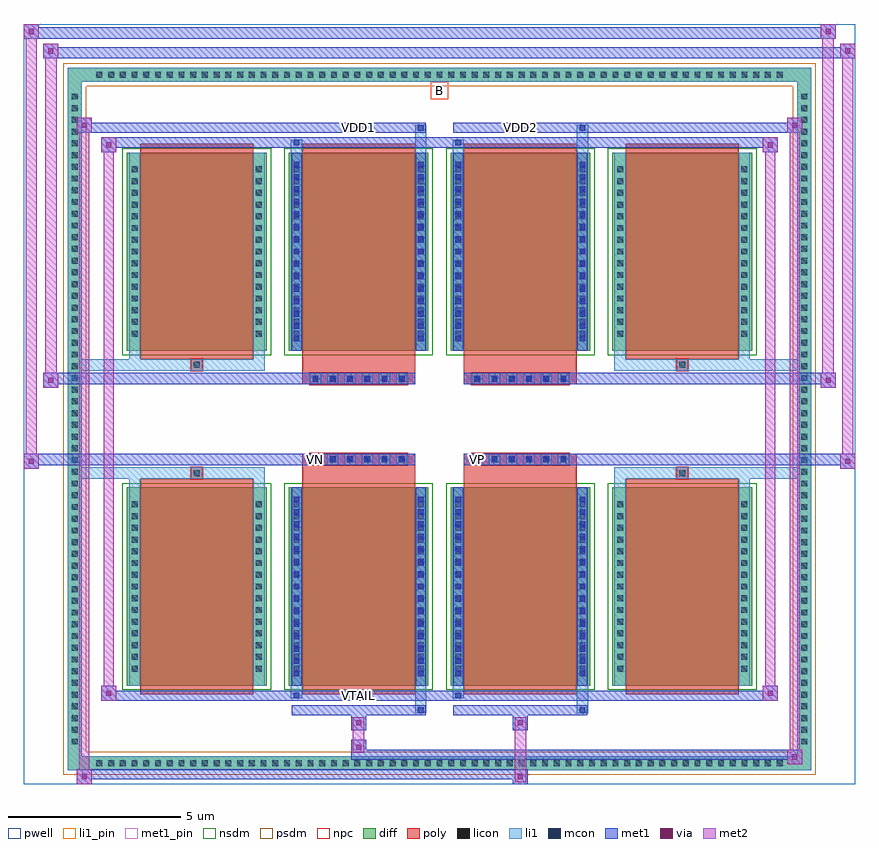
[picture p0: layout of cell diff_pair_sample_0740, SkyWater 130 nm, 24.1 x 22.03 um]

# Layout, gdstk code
import gdstk
lib = gdstk.Library(unit=1e-6, precision=5e-09)
def R(c, l, rs):  # rectangles x0, y0, x1, y1
    for r in rs: c.add(gdstk.rectangle(r[:2], r[2:], *l))
def A(c, l, x, y, w, h, nx, ny, dx, dy):  # array of equal rectangles
    R(c, l, [(x+i*dx, y+j*dy, x+i*dx+w, y+j*dy+h) for i in range(nx) for j in range(ny)])
def P(c, l, *ps):  # polygons
    for p in ps: c.add(gdstk.Polygon(p, *l))
pwell = (64, 44)
diff = (65, 20)
poly = (66, 20)
licon = (66, 44)
li1_pin = (67, 16)
li1 = (67, 20)
mcon = (67, 44)
met1_pin = (68, 16)
met1 = (68, 20)
via = (68, 44)
met2 = (69, 20)
nsdm = (93, 44)
psdm = (94, 20)
npc = (95, 20)

diff_pair_sample_0740 = lib.new_cell('diff_pair_sample_0740')
R(diff_pair_sample_0740, pwell, [(-12.05,-10.58,12.05,11.45), (-9.37,-8.77,-0.01,-0.805), (0.01,-8.77,9.37,-0.805), (-9.37,0.805,-0.01,8.77), (0.01,0.805,9.37,8.77)])
A(diff_pair_sample_0740, diff, -10.065, -10.18, 0.41, 0.41, 59, 2, 0.34, 19.95)
A(diff_pair_sample_0740, diff, -10.78, -9.555, 0.41, 0.41, 1, 56, 0, 0.34)
A(diff_pair_sample_0740, diff, 10.37, -9.555, 0.41, 0.41, 1, 56, 0, 0.34)
A(diff_pair_sample_0740, diff, -9.06, -7.725, 4.05, 5.74, 4, 2, 4.69, 9.71)
R(diff_pair_sample_0740, diff, [(-10.065,-10.18,10.065,-9.77), (-10.78,-9.555,-10.37,9.555), (10.37,-9.555,10.78,9.555), (-10.065,9.77,10.065,10.18)])
P(diff_pair_sample_0740, diff, [(10.78,10.18),(-10.78,10.18),(-10.78,-9.77),(-10.37,-9.77),(-10.37,9.77),(10.37,9.77),(10.37,-9.77),(-10.37,-9.77),(-10.78,-9.77),(-10.78,-10.18),(10.78,-10.18)])
A(diff_pair_sample_0740, poly, -8.67, -7.975, 3.27, 6.24, 4, 2, 4.69, 9.71)
A(diff_pair_sample_0740, poly, -3.76, -1.335, 0.33, 0.33, 6, 2, 0.5, 2.34)
A(diff_pair_sample_0740, poly, 0.93, -1.335, 0.33, 0.33, 6, 2, 0.5, 2.34)
R(diff_pair_sample_0740, poly, [(-7.2,-1.735,-6.87,-1.405), (-7.2,-1.735,-6.87,-1.405), (-3.98,-1.735,-0.71,-1.335), (0.71,-1.735,3.98,-1.335), (6.87,-1.735,7.2,-1.405), (6.87,-1.735,7.2,-1.405), (-3.98,-1.335,-0.71,-1.005), (0.71,-1.335,3.98,-1.005), (-3.98,1.005,-0.71,1.335), (0.71,1.005,3.98,1.335), (-3.98,1.335,-0.71,1.735), (0.71,1.335,3.98,1.735), (-7.2,1.405,-6.87,1.735), (-7.2,1.405,-6.87,1.735), (6.87,1.405,7.2,1.735), (6.87,1.405,7.2,1.735)])
A(diff_pair_sample_0740, licon, -9.945, -10.06, 0.17, 0.17, 59, 2, 0.34, 19.95)
A(diff_pair_sample_0740, licon, -10.66, -9.435, 0.17, 0.17, 1, 56, 0, 0.34)
A(diff_pair_sample_0740, licon, 10.49, -9.435, 0.17, 0.17, 1, 56, 0, 0.34)
A(diff_pair_sample_0740, licon, -8.92, -7.32, 0.17, 0.17, 1, 15, 0, 0.34)
A(diff_pair_sample_0740, licon, -5.32, -7.32, 0.17, 0.17, 1, 15, 0, 0.34)
A(diff_pair_sample_0740, licon, -4.23, -7.32, 0.17, 0.17, 1, 15, 0, 0.34)
A(diff_pair_sample_0740, licon, -0.63, -7.32, 0.17, 0.17, 1, 15, 0, 0.34)
A(diff_pair_sample_0740, licon, 0.46, -7.32, 0.17, 0.17, 1, 15, 0, 0.34)
A(diff_pair_sample_0740, licon, 4.06, -7.32, 0.17, 0.17, 1, 15, 0, 0.34)
A(diff_pair_sample_0740, licon, 5.15, -7.32, 0.17, 0.17, 1, 15, 0, 0.34)
A(diff_pair_sample_0740, licon, 8.75, -7.32, 0.17, 0.17, 1, 15, 0, 0.34)
A(diff_pair_sample_0740, licon, -3.68, -1.255, 0.17, 0.17, 6, 2, 0.5, 2.34)
A(diff_pair_sample_0740, licon, 1.01, -1.255, 0.17, 0.17, 6, 2, 0.5, 2.34)
A(diff_pair_sample_0740, licon, -8.92, 2.39, 0.17, 0.17, 1, 15, 0, 0.34)
A(diff_pair_sample_0740, licon, -5.32, 2.39, 0.17, 0.17, 1, 15, 0, 0.34)
A(diff_pair_sample_0740, licon, -4.23, 2.39, 0.17, 0.17, 1, 15, 0, 0.34)
A(diff_pair_sample_0740, licon, -0.63, 2.39, 0.17, 0.17, 1, 15, 0, 0.34)
A(diff_pair_sample_0740, licon, 0.46, 2.39, 0.17, 0.17, 1, 15, 0, 0.34)
A(diff_pair_sample_0740, licon, 4.06, 2.39, 0.17, 0.17, 1, 15, 0, 0.34)
A(diff_pair_sample_0740, licon, 5.15, 2.39, 0.17, 0.17, 1, 15, 0, 0.34)
A(diff_pair_sample_0740, licon, 8.75, 2.39, 0.17, 0.17, 1, 15, 0, 0.34)
R(diff_pair_sample_0740, licon, [(-7.12,-1.655,-6.95,-1.485), (6.95,-1.655,7.12,-1.485), (-7.12,1.485,-6.95,1.655), (6.95,1.485,7.12,1.655)])
R(diff_pair_sample_0740, li1_pin, [(-0.25,9.27,0.25,9.77)])
A(diff_pair_sample_0740, li1, -10.025, -10.14, 0.33, 0.33, 59, 2, 0.34, 19.95)
A(diff_pair_sample_0740, li1, -10.74, -9.515, 0.33, 0.33, 1, 56, 0, 0.34)
A(diff_pair_sample_0740, li1, 10.41, -9.515, 0.33, 0.33, 1, 56, 0, 0.34)
A(diff_pair_sample_0740, li1, -4.23, -7.46, 0.17, 0.17, 1, 15, 0, 0.36)
A(diff_pair_sample_0740, li1, -0.63, -7.46, 0.17, 0.17, 1, 15, 0, 0.36)
A(diff_pair_sample_0740, li1, 0.46, -7.46, 0.17, 0.17, 1, 15, 0, 0.36)
A(diff_pair_sample_0740, li1, 4.06, -7.46, 0.17, 0.17, 1, 15, 0, 0.36)
A(diff_pair_sample_0740, li1, -9, -7.4, 0.33, 0.33, 1, 15, 0, 0.34)
A(diff_pair_sample_0740, li1, -5.4, -7.4, 0.33, 0.33, 1, 15, 0, 0.34)
A(diff_pair_sample_0740, li1, -4.31, -7.4, 0.33, 0.33, 1, 15, 0, 0.34)
A(diff_pair_sample_0740, li1, -0.71, -7.4, 0.33, 0.33, 1, 15, 0, 0.34)
A(diff_pair_sample_0740, li1, 0.38, -7.4, 0.33, 0.33, 1, 15, 0, 0.34)
A(diff_pair_sample_0740, li1, 3.98, -7.4, 0.33, 0.33, 1, 15, 0, 0.34)
A(diff_pair_sample_0740, li1, 5.07, -7.4, 0.33, 0.33, 1, 15, 0, 0.34)
A(diff_pair_sample_0740, li1, 8.67, -7.4, 0.33, 0.33, 1, 15, 0, 0.34)
A(diff_pair_sample_0740, li1, -3.76, -1.335, 0.33, 0.33, 6, 2, 0.5, 2.34)
A(diff_pair_sample_0740, li1, 0.93, -1.335, 0.33, 0.33, 6, 2, 0.5, 2.34)
A(diff_pair_sample_0740, li1, -4.23, 2.25, 0.17, 0.17, 1, 15, 0, 0.36)
A(diff_pair_sample_0740, li1, -0.63, 2.25, 0.17, 0.17, 1, 15, 0, 0.36)
A(diff_pair_sample_0740, li1, 0.46, 2.25, 0.17, 0.17, 1, 15, 0, 0.36)
A(diff_pair_sample_0740, li1, 4.06, 2.25, 0.17, 0.17, 1, 15, 0, 0.36)
A(diff_pair_sample_0740, li1, -9, 2.31, 0.33, 0.33, 1, 15, 0, 0.34)
A(diff_pair_sample_0740, li1, -5.4, 2.31, 0.33, 0.33, 1, 15, 0, 0.34)
A(diff_pair_sample_0740, li1, -4.31, 2.31, 0.33, 0.33, 1, 15, 0, 0.34)
A(diff_pair_sample_0740, li1, -0.71, 2.31, 0.33, 0.33, 1, 15, 0, 0.34)
A(diff_pair_sample_0740, li1, 0.38, 2.31, 0.33, 0.33, 1, 15, 0, 0.34)
A(diff_pair_sample_0740, li1, 3.98, 2.31, 0.33, 0.33, 1, 15, 0, 0.34)
A(diff_pair_sample_0740, li1, 5.07, 2.31, 0.33, 0.33, 1, 15, 0, 0.34)
A(diff_pair_sample_0740, li1, 8.67, 2.31, 0.33, 0.33, 1, 15, 0, 0.34)
R(diff_pair_sample_0740, li1, [(-10.78,-10.18,-10.37,-9.77), (-10.78,-10.18,-10.37,-9.77), (-10.37,-10.18,10.37,-9.77), (10.37,-10.18,10.78,-9.77), (10.37,-10.18,10.78,-9.77), (-10.78,-9.77,-10.37,9.77), (10.37,-9.77,10.78,9.77), (-0.71,-8.53,-0.38,-7.725), (-0.63,-8.53,-0.46,-8.36), (3.98,-8.53,4.31,-7.725), (4.06,-8.53,4.23,-8.36), (-4.31,-8.1,-3.98,-7.725), (-4.23,-8.1,-4.06,-7.93), (0.38,-8.1,0.71,-7.725), (0.46,-8.1,0.63,-7.93), (-9,-7.725,-8.67,-1.985), (-5.4,-7.725,-5.07,-1.985), (-4.31,-7.725,-3.98,-1.985), (-0.71,-7.725,-0.38,-1.985), (0.38,-7.725,0.71,-1.985), (3.98,-7.725,4.31,-1.985), (5.07,-7.725,5.4,-1.985), (8.67,-7.725,9,-1.985), (-4.23,-7.46,-4.06,-2.25), (-0.63,-7.46,-0.46,-2.25), (0.46,-7.46,0.63,-2.25), (4.06,-7.46,4.23,-2.25), (-9,-1.985,-8.67,-1.405), (-5.4,-1.985,-5.07,-1.405), (5.07,-1.985,5.4,-1.405), (8.67,-1.985,9,-1.405), (-10.78,-1.735,-7.2,-1.405), (-9,-1.735,-7.2,-1.405), (-7.2,-1.735,-6.87,-1.405), (-6.87,-1.735,-5.07,-1.405), (5.07,-1.735,6.87,-1.405), (6.87,-1.735,7.2,-1.405), (6.87,-1.735,10.78,-1.405), (7.2,-1.735,9,-1.405), (-10.78,1.405,-7.2,1.735), (-9,1.405,-7.2,1.735), (-9,1.405,-8.67,1.985), (-7.2,1.405,-6.87,1.735), (-6.87,1.405,-5.07,1.735), (-5.4,1.405,-5.07,1.985), (5.07,1.405,6.87,1.735), (5.07,1.405,5.4,1.985), (6.87,1.405,7.2,1.735), (6.87,1.405,10.78,1.735), (7.2,1.405,9,1.735), (8.67,1.405,9,1.985), (-9,1.985,-8.67,7.725), (-5.4,1.985,-5.07,7.725), (-4.31,1.985,-3.98,7.725), (-0.71,1.985,-0.38,7.725), (0.38,1.985,0.71,7.725), (3.98,1.985,4.31,7.725), (5.07,1.985,5.4,7.725), (8.67,1.985,9,7.725), (-4.23,2.25,-4.06,7.46), (-0.63,2.25,-0.46,7.46), (0.46,2.25,0.63,7.46), (4.06,2.25,4.23,7.46), (-4.31,7.725,-3.98,8.1), (-0.71,7.725,-0.38,8.53), (0.38,7.725,0.71,8.1), (3.98,7.725,4.31,8.53), (-4.23,7.93,-4.06,8.1), (0.46,7.93,0.63,8.1), (-0.63,8.36,-0.46,8.53), (4.06,8.36,4.23,8.53), (-10.78,9.77,-10.37,10.18), (-10.78,9.77,-10.37,10.18), (-10.37,9.77,10.37,10.18), (10.37,9.77,10.78,10.18), (10.37,9.77,10.78,10.18)])
A(diff_pair_sample_0740, mcon, -4.23, -7.46, 0.17, 0.17, 1, 15, 0, 0.36)
A(diff_pair_sample_0740, mcon, -0.63, -7.46, 0.17, 0.17, 1, 15, 0, 0.36)
A(diff_pair_sample_0740, mcon, 0.46, -7.46, 0.17, 0.17, 1, 15, 0, 0.36)
A(diff_pair_sample_0740, mcon, 4.06, -7.46, 0.17, 0.17, 1, 15, 0, 0.36)
A(diff_pair_sample_0740, mcon, -3.68, -1.255, 0.17, 0.17, 6, 2, 0.5, 2.34)
A(diff_pair_sample_0740, mcon, 1.01, -1.255, 0.17, 0.17, 6, 2, 0.5, 2.34)
A(diff_pair_sample_0740, mcon, -4.23, 2.25, 0.17, 0.17, 1, 15, 0, 0.36)
A(diff_pair_sample_0740, mcon, -0.63, 2.25, 0.17, 0.17, 1, 15, 0, 0.36)
A(diff_pair_sample_0740, mcon, 0.46, 2.25, 0.17, 0.17, 1, 15, 0, 0.36)
A(diff_pair_sample_0740, mcon, 4.06, 2.25, 0.17, 0.17, 1, 15, 0, 0.36)
R(diff_pair_sample_0740, mcon, [(-0.63,-8.53,-0.46,-8.36), (4.06,-8.53,4.23,-8.36), (-4.23,-8.1,-4.06,-7.93), (0.46,-8.1,0.63,-7.93), (-4.23,7.93,-4.06,8.1), (0.46,7.93,0.63,8.1), (-0.63,8.36,-0.46,8.53), (4.06,8.36,4.23,8.53)])
R(diff_pair_sample_0740, met1_pin, [(-2.48,-8.14,-2.21,-7.87), (-3.73,-1.295,-3.46,-1.025), (0.96,-1.295,1.23,-1.025), (-2.48,8.32,-2.21,8.59), (2.21,8.32,2.48,8.59)])
A(diff_pair_sample_0740, met1, -4.29, -7.52, 0.29, 0.29, 1, 15, 0, 0.36)
A(diff_pair_sample_0740, met1, -0.69, -7.52, 0.29, 0.29, 1, 15, 0, 0.36)
A(diff_pair_sample_0740, met1, 0.4, -7.52, 0.29, 0.29, 1, 15, 0, 0.36)
A(diff_pair_sample_0740, met1, 4, -7.52, 0.29, 0.29, 1, 15, 0, 0.36)
A(diff_pair_sample_0740, met1, -3.74, -1.315, 0.29, 0.29, 6, 2, 0.5, 2.34)
A(diff_pair_sample_0740, met1, 0.95, -1.315, 0.29, 0.29, 6, 2, 0.5, 2.34)
A(diff_pair_sample_0740, met1, -4.29, 2.19, 0.29, 0.29, 1, 15, 0, 0.36)
A(diff_pair_sample_0740, met1, -0.69, 2.19, 0.29, 0.29, 1, 15, 0, 0.36)
A(diff_pair_sample_0740, met1, 0.4, 2.19, 0.29, 0.29, 1, 15, 0, 0.36)
A(diff_pair_sample_0740, met1, 4, 2.19, 0.29, 0.29, 1, 15, 0, 0.36)
R(diff_pair_sample_0740, met1, [(-10.51,-10.58,-10.08,-10.15), (2.13,-10.58,2.56,-10.15), (-10.51,-10.44,2.56,-10.15), (10.08,-10.01,10.51,-9.58), (-2.56,-9.87,10.51,-9.58), (-2.56,-9.73,-2.13,-9.3), (-2.56,-9.02,-2.13,-8.59), (2.13,-9.02,2.56,-8.59), (-4.29,-8.59,-0.4,-8.3), (-0.69,-8.59,-0.4,-8.3), (0.4,-8.59,4.29,-8.3), (4,-8.59,4.29,-8.3), (-9.8,-8.16,-9.37,-7.73), (-9.8,-8.16,-4.29,-7.87), (-4.29,-8.16,-4,-7.87), (-4.29,-8.16,-0.4,-7.87), (-0.4,-8.16,0.4,-7.87), (0.4,-8.16,0.69,-7.87), (0.4,-8.16,4.29,-7.87), (4.29,-8.16,9.8,-7.87), (9.37,-8.16,9.8,-7.73), (-4.29,-7.725,-4,-1.985), (-0.69,-7.725,-0.4,-1.985), (0.4,-7.725,0.69,-1.985), (4,-7.725,4.29,-1.985), (-12.05,-1.435,-11.62,-1.005), (11.62,-1.435,12.05,-1.005), (-12.05,-1.335,-0.71,-1.005), (-3.98,-1.335,-0.71,-1.005), (0.71,-1.335,3.98,-1.005), (0.71,-1.335,12.05,-1.005), (-11.48,0.905,-11.05,1.335), (11.05,0.905,11.48,1.335), (-11.48,1.005,-3.98,1.335), (-3.98,1.005,-0.71,1.335), (0.71,1.005,3.98,1.335), (3.98,1.005,11.48,1.335), (-4.29,1.985,-4,7.725), (-0.69,1.985,-0.4,7.725), (0.4,1.985,0.69,7.725), (4,1.985,4.29,7.725), (-9.8,7.73,-9.37,8.16), (9.37,7.73,9.8,8.16), (-9.8,7.87,-4.29,8.16), (-4.29,7.87,-4,8.16), (-4.29,7.87,-0.4,8.16), (-0.4,7.87,0.4,8.16), (0.4,7.87,0.69,8.16), (0.4,7.87,4.29,8.16), (4.29,7.87,9.8,8.16), (-10.51,8.3,-10.08,8.73), (-10.51,8.3,-4.29,8.59), (-4.29,8.3,-0.4,8.59), (-0.69,8.3,-0.4,8.59), (0.4,8.3,4.29,8.59), (4,8.3,4.29,8.59), (4.29,8.3,10.51,8.59), (10.08,8.3,10.51,8.73), (-11.48,10.45,-11.05,10.88), (-11.48,10.45,-9.37,10.78), (-9.37,10.45,9.37,10.78), (9.37,10.45,12.05,10.78), (11.62,10.45,12.05,10.88), (-12.05,11.02,-11.62,11.45), (-12.05,11.02,-9.37,11.35), (-9.37,11.02,9.37,11.35), (9.37,11.02,11.48,11.35), (11.05,11.02,11.48,11.45)])
R(diff_pair_sample_0740, via, [(-10.37,-10.44,-10.22,-10.29), (2.27,-10.44,2.42,-10.29), (10.22,-9.87,10.37,-9.72), (-2.42,-9.59,-2.27,-9.44), (-2.42,-8.88,-2.27,-8.73), (2.27,-8.88,2.42,-8.73), (-9.66,-8.02,-9.51,-7.87), (9.51,-8.02,9.66,-7.87), (-11.91,-1.295,-11.76,-1.145), (11.76,-1.295,11.91,-1.145), (-11.34,1.045,-11.19,1.195), (11.19,1.045,11.34,1.195), (-9.66,7.87,-9.51,8.02), (9.51,7.87,9.66,8.02), (-10.37,8.44,-10.22,8.59), (10.22,8.44,10.37,8.59), (-11.34,10.59,-11.19,10.74), (11.76,10.59,11.91,10.74), (-11.91,11.16,-11.76,11.31), (11.19,11.16,11.34,11.31)])
R(diff_pair_sample_0740, met2, [(-10.51,-10.58,-10.08,-10.15), (-10.44,-10.58,-10.15,8.73), (-10.15,-10.58,-10.08,-10.15), (-10.46,-10.53,-10.13,-10.2), (2.18,-10.53,2.51,-10.2), (2.18,-10.2,2.51,-8.97), (10.08,-10.01,10.51,-9.58), (10.15,-10.01,10.44,8.73), (10.44,-10.01,10.51,-9.58), (10.13,-9.96,10.46,-9.63), (-2.51,-9.68,-2.18,-9.35), (-2.51,-9.35,-2.18,-8.97), (-2.51,-8.97,-2.18,-8.64), (2.18,-8.97,2.51,-8.64), (-9.8,-8.16,-9.37,-7.73), (-9.73,-8.16,-9.44,8.16), (-9.44,-8.16,-9.37,-7.73), (9.37,-8.16,9.8,-7.73), (9.44,-8.16,9.73,8.16), (9.73,-8.16,9.8,-7.73), (-9.75,-8.11,-9.42,-7.78), (9.42,-8.11,9.75,-7.78), (-12.05,-1.435,-11.62,-1.005), (-12,-1.435,-11.67,11.45), (-11.67,-1.435,-11.62,-1.005), (11.62,-1.435,12.05,-1.005), (11.67,-1.435,12,10.88), (12,-1.435,12.05,-1.005), (-12,-1.385,-11.67,-1.055), (11.67,-1.385,12,-1.055), (-11.48,0.905,-11.05,1.335), (-11.43,0.905,-11.1,10.88), (-11.1,0.905,-11.05,1.335), (11.05,0.905,11.48,1.335), (11.1,0.905,11.43,11.45), (11.43,0.905,11.48,1.335), (-11.43,0.955,-11.1,1.285), (11.1,0.955,11.43,1.285), (-9.8,7.73,-9.37,8.16), (-9.44,7.73,-9.37,8.16), (9.37,7.73,9.8,8.16), (9.73,7.73,9.8,8.16), (-9.75,7.78,-9.42,8.11), (9.42,7.78,9.75,8.11), (-10.51,8.3,-10.08,8.73), (-10.15,8.3,-10.08,8.73), (10.08,8.3,10.51,8.73), (10.44,8.3,10.51,8.73), (-10.46,8.35,-10.13,8.68), (10.13,8.35,10.46,8.68), (-11.48,10.45,-11.05,10.88), (-11.1,10.45,-11.05,10.88), (11.62,10.45,12.05,10.88), (12,10.45,12.05,10.88), (-11.43,10.5,-11.1,10.83), (11.67,10.5,12,10.83), (-12.05,11.02,-11.62,11.45), (-11.67,11.02,-11.62,11.45), (11.05,11.02,11.48,11.45), (11.43,11.02,11.48,11.45), (-12,11.07,-11.67,11.4), (11.1,11.07,11.43,11.4)])
A(diff_pair_sample_0740, nsdm, -9.19, -7.855, 4.31, 6, 4, 2, 4.69, 9.71)
P(diff_pair_sample_0740, psdm, [(10.91,10.31),(-10.91,10.31),(-10.91,-9.64),(-10.24,-9.64),(-10.24,9.64),(10.24,9.64),(10.24,-9.64),(-10.24,-9.64),(-10.91,-9.64),(-10.91,-10.31),(10.91,-10.31)])
A(diff_pair_sample_0740, npc, -3.78, -1.355, 0.37, 0.37, 6, 2, 0.5, 2.34)
A(diff_pair_sample_0740, npc, 0.91, -1.355, 0.37, 0.37, 6, 2, 0.5, 2.34)
R(diff_pair_sample_0740, npc, [(-7.22,-1.755,-6.85,-1.385), (6.85,-1.755,7.22,-1.385), (-3.78,-1.355,-2.91,-0.985), (-3.78,-1.355,-2.91,-0.985), (-3.28,-1.355,-2.41,-0.985), (-3.28,-1.355,-2.41,-0.985), (-2.78,-1.355,-1.91,-0.985), (-2.78,-1.355,-1.91,-0.985), (-2.28,-1.355,-1.41,-0.985), (-2.28,-1.355,-1.41,-0.985), (-1.78,-1.355,-0.91,-0.985), (-1.78,-1.355,-0.91,-0.985), (0.91,-1.355,1.78,-0.985), (0.91,-1.355,1.78,-0.985), (1.41,-1.355,2.28,-0.985), (1.41,-1.355,2.28,-0.985), (1.91,-1.355,2.78,-0.985), (1.91,-1.355,2.78,-0.985), (2.41,-1.355,3.28,-0.985), (2.41,-1.355,3.28,-0.985), (2.91,-1.355,3.78,-0.985), (2.91,-1.355,3.78,-0.985), (-3.78,0.985,-2.91,1.355), (-3.78,0.985,-2.91,1.355), (-3.28,0.985,-2.41,1.355), (-3.28,0.985,-2.41,1.355), (-2.78,0.985,-1.91,1.355), (-2.78,0.985,-1.91,1.355), (-2.28,0.985,-1.41,1.355), (-2.28,0.985,-1.41,1.355), (-1.78,0.985,-0.91,1.355), (-1.78,0.985,-0.91,1.355), (0.91,0.985,1.78,1.355), (0.91,0.985,1.78,1.355), (1.41,0.985,2.28,1.355), (1.41,0.985,2.28,1.355), (1.91,0.985,2.78,1.355), (1.91,0.985,2.78,1.355), (2.41,0.985,3.28,1.355), (2.41,0.985,3.28,1.355), (2.91,0.985,3.78,1.355), (2.91,0.985,3.78,1.355), (-7.22,1.385,-6.85,1.755), (6.85,1.385,7.22,1.755)])
diff_pair_sample_0740.add(gdstk.Label('VTAIL', (-2.345,-8.005), layer=68, texttype=5))
diff_pair_sample_0740.add(gdstk.Label('VN', (-3.595,-1.16), layer=68, texttype=5))
diff_pair_sample_0740.add(gdstk.Label('VP', (1.095,-1.16), layer=68, texttype=5))
diff_pair_sample_0740.add(gdstk.Label('B', (0,9.52), layer=67, texttype=5))
diff_pair_sample_0740.add(gdstk.Label('VDD2', (2.345,8.455), layer=68, texttype=5))
diff_pair_sample_0740.add(gdstk.Label('VDD1', (-2.345,8.455), layer=68, texttype=5))

lib.write_gds('diff_pair_sample_0740.gds')
